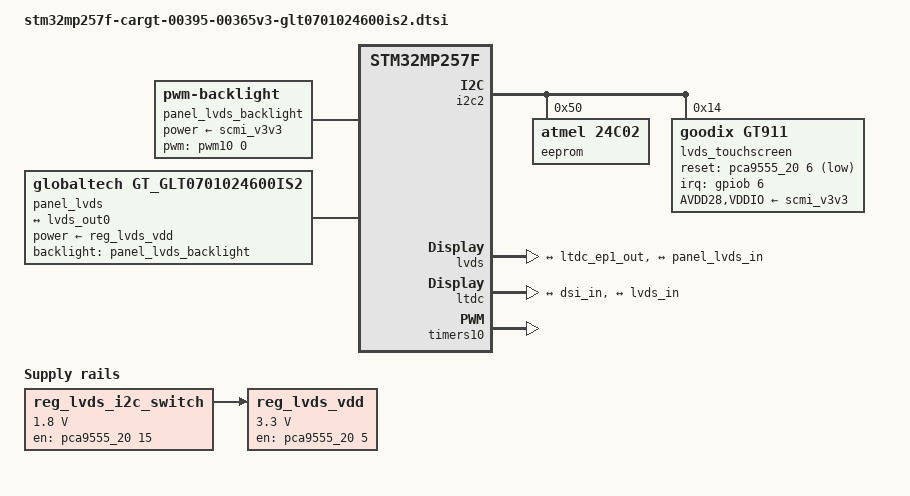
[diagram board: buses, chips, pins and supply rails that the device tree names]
/ {
	panel_lvds_backlight: panel-lvds-backlight {
		compatible = "pwm-backlight";
		pwms = <&pwm10 0 1000000 0>;
		brightness-levels = <0 100>;
		num-interpolated-steps = <100>;
		default-brightness-level = <80>;
		power-supply = <&scmi_v3v3>;
		status = "okay";
	};

	reg_lvds_i2c_switch: regulator-lvds-i2c-switch {
		compatible = "regulator-fixed";
		regulator-name = "lvds_i2c_sw";
		regulator-min-microvolt = <1800000>;
		regulator-max-microvolt = <1800000>;
		gpio = <&pca9555_20 15 GPIO_ACTIVE_HIGH>;
		enable-active-high;
		regulator-always-on;
		status = "okay";
	};	

	reg_lvds_vdd: regulator-lvds-vdd {
		compatible = "regulator-fixed";
		regulator-name = "lvds_vdd";
		regulator-min-microvolt = <3300000>; // 00314 will boost 1.8V output to 3.3V 
		regulator-max-microvolt = <3300000>;
		gpio = <&pca9555_20 5 GPIO_ACTIVE_HIGH>;
		enable-active-high;
		regulator-always-on;
		vin-supply = <&reg_lvds_i2c_switch>;
		status = "okay";
	};	

	panel_lvds: panel-lvds {	
		compatible = "globaltech,gt_GLT0701024600IS2";
		backlight = <&panel_lvds_backlight>;
		power-supply = <&reg_lvds_vdd>;

		status = "okay";

		port {
			panel_lvds_in: endpoint {
				remote-endpoint = <&lvds_out0>;
			};
		};
	};
};

&i2c2 {
	
	/* eeprom on display */
	eeprom@50 {
		compatible = "atmel,24c02";
		reg = <0x50>;
		pagesize = <16>;		
		status = "okay";
	};

	lvds_touchscreen@14 {
		reg = <0x14>;
		compatible = "goodix,gt911";
		pinctrl-names = "default";
		pinctrl-0 = <&goodix_pins_a>;
		interrupt-parent = <&gpiob>;
		interrupts = <6 IRQ_TYPE_EDGE_FALLING>;
		reset-gpios = <&pca9555_20 6 GPIO_ACTIVE_LOW>;
		AVDD28-supply = <&scmi_v3v3>;
		VDDIO-supply = <&scmi_v3v3>;
		touchscreen-size-x = <1024>;
		touchscreen-size-y = <600>;
		status = "okay";
	};	
};

&dsi {
	vdd-supply =  <&scmi_vddcore>;
	vdda18-supply = <&scmi_v1v8>;
	ports {
		#address-cells = <1>;
		#size-cells = <0>;

		port@0 {
			reg = <0>;
			dsi_in: endpoint {
				remote-endpoint = <&ltdc_ep0_out>;
			};
		};
	};
};

&lvds {
	default-on;
	vdd-supply =  <&scmi_vddcore>;
	vdda18-supply = <&scmi_v1v8>;

	ports {
		#address-cells = <1>;
		#size-cells = <0>;

		port@0 {
			reg = <0>;
			lvds_in: endpoint {
				remote-endpoint = <&ltdc_ep1_out>;
			};
		};

		port@1 {
			reg = <1>;
			lvds_out0: endpoint {
				remote-endpoint = <&panel_lvds_in>;
			};
		};
	};
};

&ltdc {
	default-on;
	rotation-memory = <&ltdc_sec_rotation>;

	port {
		#address-cells = <1>;
		#size-cells = <0>;

		ltdc_ep0_out: endpoint@0 {
			reg = <0>;
			remote-endpoint = <&dsi_in>;
		};

		ltdc_ep1_out: endpoint@1 {
			reg = <1>;
			remote-endpoint = <&lvds_in>;
		};
	};
};

&timers10 {
	/delete-property/pinctrl-names;
	/delete-property/pinctrl-0;
	/delete-property/pinctrl-1;
	/delete-property/dmas;
	/delete-property/dma-names;
	status = "okay";

	pwm10: pwm {
		pinctrl-names = "default", "sleep";
		pinctrl-0 = <&tim10_pwm_pins_mx>;
		pinctrl-1 = <&tim10_pwm_sleep_pins_mx>;
		status = "okay";
	};	
};

&dsi {
	status = "disabled";
};

&pinctrl {
	goodix_pins_a: goodix-0 {
		/*
		 * Interrupt line has a pull-up resistor on 00285
		 * in order to freeze the i2c address at 0x14
		 */
		pins1 {
			pinmux = <STM32_PINMUX('B', 6, GPIO)>; /* LVDSCT_nINT */		
			drive-push-pull;
		};
	};
};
